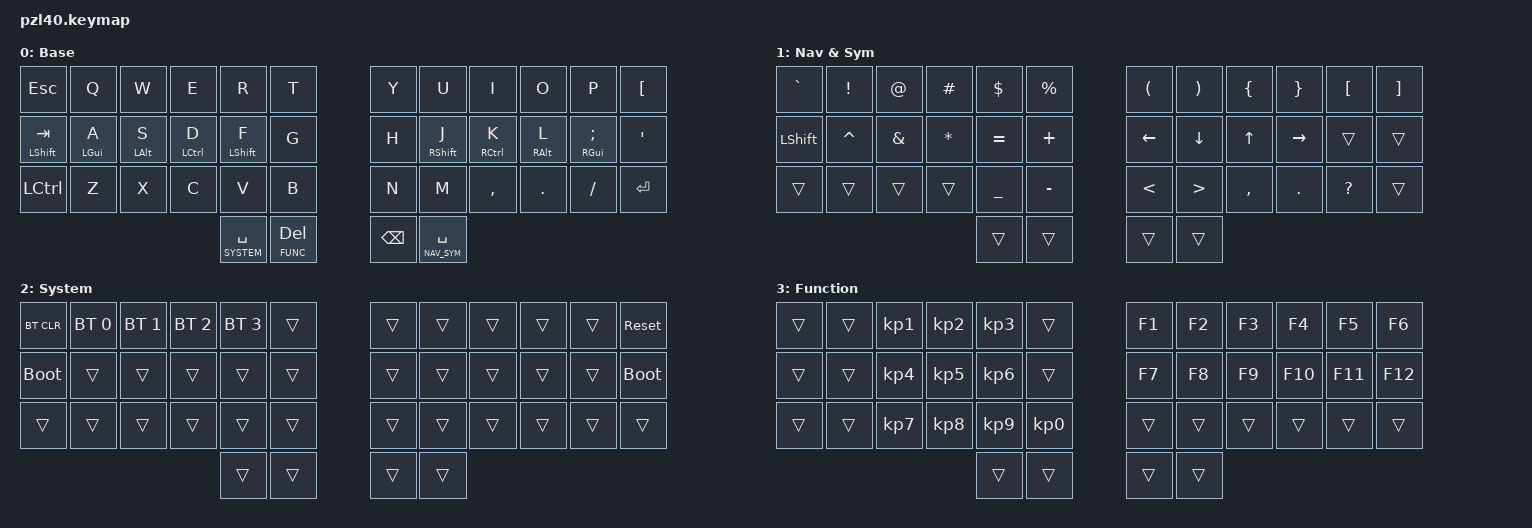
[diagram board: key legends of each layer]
/*
 * Copyright (c) 2020 The ZMK Contributors
 *
 * SPDX-License-Identifier: MIT
 */

#include <behaviors.dtsi>
#include <dt-bindings/zmk/bt.h>
#include <dt-bindings/zmk/keys.h>

// Layer Definitions
#define BASE 0
#define NAV_SYM 1
#define SYSTEM 2
#define FUNC 3

/ {
    // -----------------------------------------------------------------------------------------
    // BEHAVIORS
    // -----------------------------------------------------------------------------------------
    behaviors {
        hrm: home_row_mods {
            compatible = "zmk,behavior-hold-tap";
            label = "HOME_ROW_MODS";
            #binding-cells = <2>;
            tapping-term-ms = <200>;
            quick-tap-ms = <0>;
            flavor = "balanced";
            bindings = <&kp>, <&kp>;
        };
    };


    // -----------------------------------------------------------------------------------------
    // KEYMAP
    // -----------------------------------------------------------------------------------------
    keymap {
        compatible = "zmk,keymap";

        base_layer {
            display-name = "Base";
// ---------------------------------------------------------------------------------------------------------------------------------
// |  ESC   |  Q  |  W  |  E   |  R   |  T   |       |  Y   |  U   |  I   |  O   |  P   |  [   |
// |TAB/SHFT|A/GUI|S/ALT|D/CTRL|F/SHFT|  G   |       |  H   |J/SHFT|K/CTRL|L/ALT |;/GUI |  '   |
// | LCTRL  |  Z  |  X  |  C   |  V   |  B   |       |  N   |  M   |  ,   |  .   |  /   | ENTR |
//                             |SPC/2 |DEL/3 |       | BSPC |SPC/1 |
            bindings = <
    &kp ESC         &kp Q       &kp W       &kp E        &kp R             &kp T               &kp Y     &kp U              &kp I        &kp O       &kp P          &kp LBKT
    &mt LSHFT TAB   &hrm LGUI A &hrm LALT S &hrm LCTRL D &hrm LSHFT F      &kp G               &kp H     &hrm RSHFT J       &hrm RCTRL K &hrm RALT L &hrm RGUI SEMI &kp SQT
    &kp LCTRL       &kp Z       &kp X       &kp C        &kp V             &kp B               &kp N     &kp M              &kp COMMA    &kp DOT     &kp FSLH       &kp ENTER
                                                         &lt SYSTEM SPACE  &lt FUNC DEL        &kp BSPC  &lt NAV_SYM SPACE
            >;
        };

        nav_sym_layer {
            display-name = "Nav & Sym";
// ---------------------------------------------------------------------------------------------------------------------------------
// |   `   |  !  |  @  |  #   |  $   |   %  |       |  (   |  )   |  {   |  }   |  [   |  ]   |
// |       |  ^  |  &  |  *   |  =   |   +  |       | LEFT | DOWN |  UP  | RGHT |      |      |
// |       |     |     |      |  _   |   -  |       |  <   |  >   |      |      |      |      |
//                            |      |      |       |      |      |
            bindings = <
    &kp GRAVE  &kp EXCL   &kp AT    &kp HASH  &kp DLLR   &kp PRCNT      &kp LPAR  &kp RPAR  &kp LBRC   &kp RBRC   &kp LBKT   &kp RBKT
    &kp LSHFT  &kp CARET  &kp AMPS  &kp STAR  &kp EQUAL  &kp PLUS       &kp LEFT  &kp DOWN  &kp UP     &kp RIGHT  &trans     &trans
    &trans     &trans     &trans    &trans    &kp UNDER  &kp MINUS      &kp LT    &kp GT    &kp COMMA  &kp DOT    &kp QMARK  &trans
                                              &trans     &trans         &trans    &trans
            >;
        };

        system_layer {
            display-name = "System";
// ---------------------------------------------------------------------------------------------------------------------------------
// | BTCLR | BT0 | BT1 | BT2  | BT3  |      |       |      |      |      |      |      | RESET|
// | BOOT  |     |     |      |      |      |       |      |      |      |      |      | BOOT |
// |       |     |     |      |      |      |       |      |      |      |      |      |      |
//                            |      |      |       |      |      |
            bindings = <
    &bt BT_CLR  &bt BT_SEL 0 &bt BT_SEL 1 &bt BT_SEL 2 &bt BT_SEL 3 &trans       &trans &trans &trans &trans &trans &sys_reset
    &bootloader &trans       &trans       &trans       &trans       &trans       &trans &trans &trans &trans &trans &bootloader
    &trans      &trans       &trans       &trans       &trans       &trans       &trans &trans &trans &trans &trans &trans
                                          &trans       &trans                    &trans &trans
            >;
        };
        
        function_keys {
            display-name = "Function";
// ---------------------------------------------------------------------------------------------------------------------------------
// |     |     |  1  |  2  |  3  |     |       |     |     |     |     |     |     |
// |     |     |  4  |  5  |  6  |     |       |     |     |     |     |     |     |
// |     |     |  7  |  8  |  9  |  0  |       |     |     |     |     |     |     |
//                         |     |     |       |     |     |
            bindings = <
    &trans  &trans  &kp KP_N1  &kp KP_N2  &kp KP_N3  &trans       &kp F1   &kp F2   &kp F3  &kp F4   &kp F5   &kp F6
    &trans  &trans  &kp KP_N4  &kp KP_N5  &kp KP_N6  &trans       &kp F7   &kp F8   &kp F9  &kp F10  &kp F11  &kp F12
    &trans  &trans  &kp KP_N7  &kp KP_N8  &kp KP_N9  &kp KP_N0    &trans   &trans   &trans  &trans   &trans   &trans
                                          &trans     &trans       &trans  &trans
            >;
        };
    };
};
